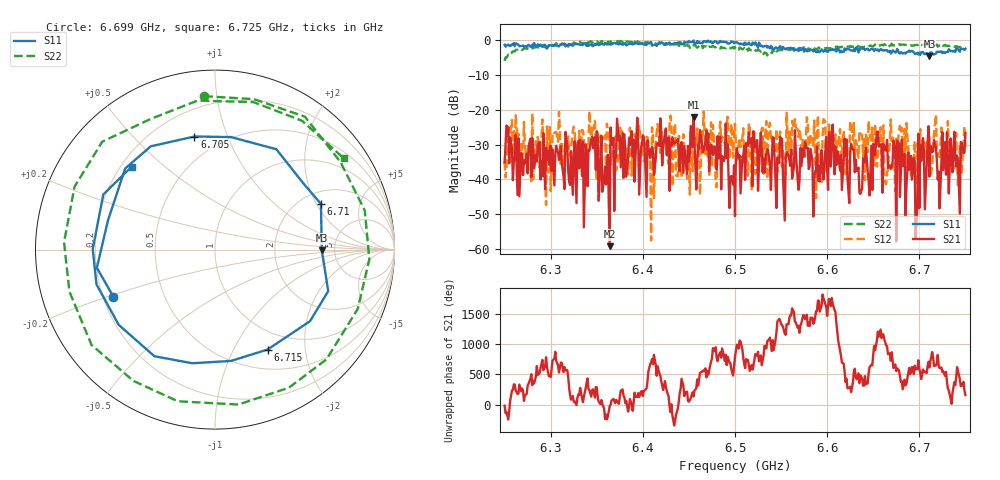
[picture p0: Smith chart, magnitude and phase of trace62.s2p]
# Hz S RI R 50
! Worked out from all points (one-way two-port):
!   401 points, 6.25 GHz to 6.75 GHz, reference 50 ohm
!   highest |S21| = -22.20 dB at 6.455 GHz (marker M1); lowest = -59.3 dB at 6.364 GHz (marker M2)
!   lowest |S11| = -4.5 dB at 6.711 GHz (marker M3), VSWR 3.94, Z = 197 - j1.85 ohm
!   |S11| at or under -10 dB: nowhere
!   |S22| runs from -5.9 to -0.2 dB; largest |S21 - S12| = 0.12
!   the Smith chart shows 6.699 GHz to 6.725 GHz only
!   S11 on the Smith chart (normalised r, x): 6.699 GHz: 0.24, -0.21; 6.705 GHz: 0.36, +0.77; 6.71 GHz: 2.52, +2.19; 6.715 GHz: 0.75, -1.37; 6.725 GHz: 0.24, +0.39
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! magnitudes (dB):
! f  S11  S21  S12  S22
! 6.25 GHz  -1.3  -35.2  -34.9  -5.9
! 6.256 GHz  -1.6  -27.9  -26.5  -3.6
! 6.276 GHz  -1.3  -30.4  -37.4  -2.4
! 6.334 GHz  -1.4  -39.1  -25.8  -1.3
! 6.345 GHz  -1.5  -27.7  -24.4  -0.7
! 6.351 GHz  -1.2  -28.3  -25.9  -0.4
! 6.364 GHz  -1.1  -59.3  -28.9  -0.4
! 6.394 GHz  -0.9  -22.3  -28.2  -0.3
! 6.41 GHz  -1.5  -30.7  -25.0  -0.8
! 6.418 GHz  -0.8  -30.5  -29.1  -0.5
! 6.455 GHz  0.0  -22.2  -23.9  -1.4
! 6.5 GHz  -0.6  -50.6  -24.0  -2.0
! 6.515 GHz  -0.6  -26.5  -23.9  -2.3
! 6.584 GHz  -2.9  -34.5  -28.5  -2.3
! 6.668 GHz  -3.0  -36.0  -29.5  -1.6
! 6.699 GHz  -4.1  -26.9  -32.7  -1.3
! 6.705 GHz  -3.9  -32.8  -28.8  -1.3
! 6.71 GHz  -3.8  -24.7  -27.0  -1.2
! 6.711 GHz  -4.5  -39.2  -26.5  -1.2
! 6.715 GHz  -4.0  -31.9  -30.3  -1.5
! 6.725 GHz  -3.7  -26.4  -31.6  -1.1
! 6.75 GHz  -2.4  -26.7  -30.7  -2.2
